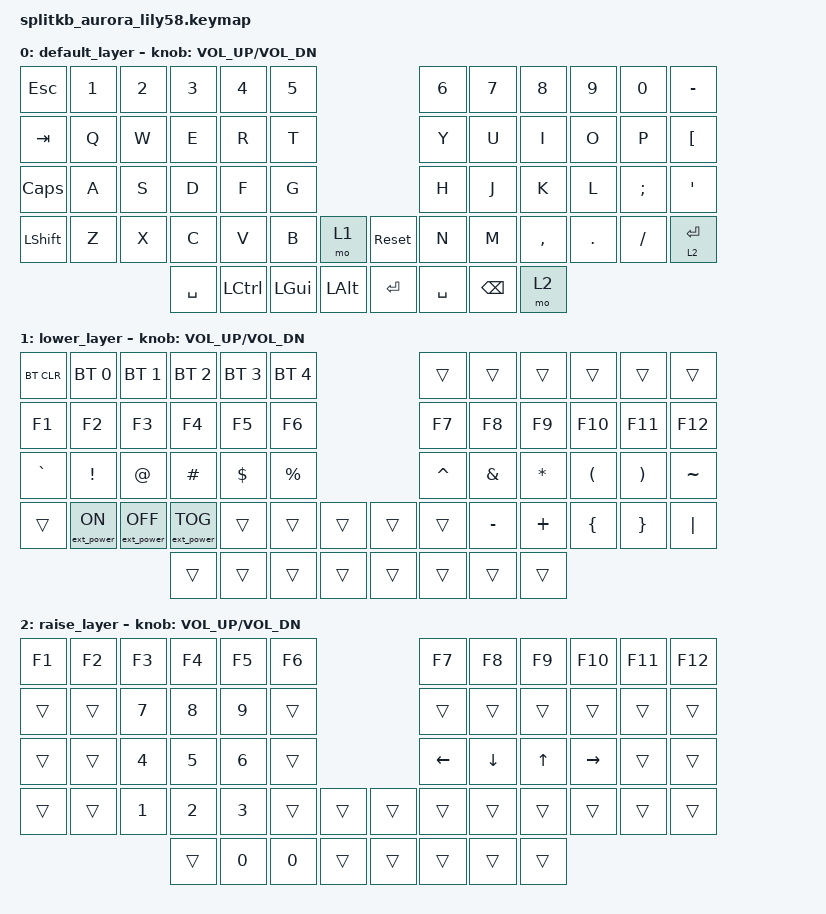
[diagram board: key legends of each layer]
/*
 * Copyright (c) 2022 The ZMK Contributors
 *
 * SPDX-License-Identifier: MIT
 */

#include <behaviors.dtsi>
#include <dt-bindings/zmk/keys.h>
#include <dt-bindings/zmk/bt.h>
#include <dt-bindings/zmk/ext_power.h>

/ {
    keymap {
        compatible = "zmk,keymap";

        default_layer {
// ------------------------------------------------------------------------------------------------------------
// |  ESC  |  1  |  2  |  3   |  4   |  5   |                   |  6   |  7    |  8    |  9   |   0   |   -   |
// |  TAB  |  Q  |  W  |  E   |  R   |  T   |                   |  Y   |  U    |  I    |  O   |   P   | "["   |
// |  CAPS |  A  |  S  |  D   |  F   |  G   |                   |  H   |  J    |  K    |  L   |   ;   |   '   |
// | SHIFT |  Z  |  X  |  C   |  V   |  B   | LOWER  |  | RESET |  N   |  M    |  ,    |  .   |   /   | ENTER (HIGHER pressed) |
//                     | SPACE| CTRL | GUI  | ALT    |  | ENTER | SPACE| BSPC  | HIGHER|
            bindings = <
&kp ESC   &kp N1 &kp N2 &kp N3   &kp N4   &kp N5                     &kp N6 &kp N7   &kp N8    &kp N9  &kp N0   &kp MINUS
&kp TAB   &kp Q  &kp W  &kp E    &kp R    &kp T                      &kp Y  &kp U    &kp I     &kp O   &kp P    &kp LBKT
&kp CAPSLOCK &kp A  &kp S  &kp D    &kp F    &kp G                      &kp H  &kp J    &kp K     &kp L   &kp SEMI &kp SQT
&kp LSHFT &kp Z  &kp X  &kp C    &kp V    &kp B  &mo 1   &sys_reset &kp N  &kp M    &kp COMMA &kp DOT &kp FSLH &lt 2 RET
                        &kp SPACE &kp LCTRL &kp LGUI  &kp LALT  &kp RET  &kp SPACE  &kp BSPC &mo 2
            >;

            sensor-bindings = <&inc_dec_kp C_VOL_UP C_VOL_DN>;
        };

        lower_layer {
// ------------------------------------------------------------------------------------------------------------
// | BTCLR | BT1 | BT2 |  BT3 |  BT4 |  BT5 |                   |      |       |       |      |       |       |
// |  F1   |  F2 |  F3 |  F4  |  F5  |  F6  |                   |  F7  |  F8   |  F9   |  F10 |  F11  |  F12  |
// |   `   |  !  |  @  |  #   |  $   |  %   |                   |  ^   |  &    |  *    |  (   |   )   |   ~   |
// |       |     |     |      |      |      |        |  |       |      |  _    |  +    |  {   |   }   |  "|"  |
//                     |      |      |      |        |  |       |      |       |       |
            bindings = <
&bt BT_CLR &bt BT_SEL 0     &bt BT_SEL 1      &bt BT_SEL 2      &bt BT_SEL 3 &bt BT_SEL 4                 &trans    &trans    &trans          &trans    &trans    &trans
&kp F1     &kp F2           &kp F3            &kp F4            &kp F5       &kp F6                       &kp F7    &kp F8    &kp F9          &kp F10   &kp F11   &kp F12
&kp GRAVE  &kp EXCL         &kp AT            &kp HASH          &kp DOLLAR   &kp PRCNT                    &kp CARET &kp AMPS  &kp STAR         &kp LPAR  &kp RPAR  &kp TILDE
&trans     &ext_power EP_ON &ext_power EP_OFF &ext_power EP_TOG &trans       &trans    &trans   &trans    &trans    &kp MINUS &kp PLUS        &kp LBRC  &kp RBRC  &kp PIPE
                                              &trans            &trans       &trans    &trans   &trans    &trans    &trans    &trans
            >;

            sensor-bindings = <&inc_dec_kp C_VOL_UP C_VOL_DN>;
        };

        raise_layer {
// ------------------------------------------------------------------------------------------------------------
// |  F1   |  F2 |  F3 |  F4  |  F5  |  F6  |                   |  F7  |  F8   |  F9   |  F10 |  F11  |  F12  |
// |       |     |  7  |  8   |  9   |      |                   |      |       |       |      |       |       |
// |       |     |  4  |  5   |  6   |      |                   |  <-  |   v   |  ^    |  ->  |       |       |
// |       |     |  1  |  2   |  3   |      |        |  |       |      |       |       |      |       |       |
//                     |      |  0   |   0  |        |  |       |      |       |       |
            bindings = <
&kp F1 &kp F2 &kp F3 &kp F4 &kp F5 &kp F6                       &kp F7 &kp F8 &kp F9 &kp F10 &kp F11 &kp F12
&trans &trans &kp N7 &kp N8 &kp N9 &trans                       &trans &trans &trans &trans &trans &trans
&trans &trans &kp N4 &kp N5 &kp N6 &trans                       &kp LEFT &kp DOWN &kp UP &kp RIGHT &trans &trans
&trans &trans &kp N1 &kp N2 &kp N3 &trans         &trans   &trans    &trans &trans &trans &trans &trans  &trans
                        &trans  &kp N0  &kp N0    &trans   &trans    &trans      &trans    &trans
            >;

            sensor-bindings = <&inc_dec_kp C_VOL_UP C_VOL_DN>;
        };
    };
};
